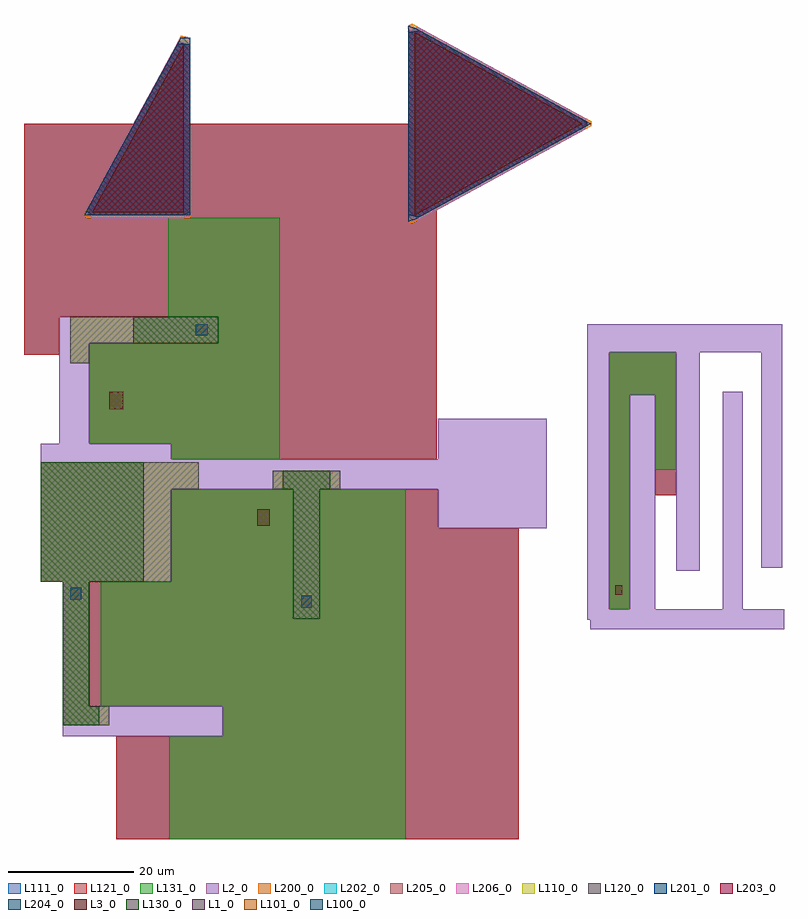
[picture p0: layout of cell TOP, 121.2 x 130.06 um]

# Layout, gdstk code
from math import pi, radians
import gdstk
lib = gdstk.Library(unit=1e-6, precision=1e-09)
def R(c, l, rs):  # rectangles x0, y0, x1, y1
    for r in rs: c.add(gdstk.rectangle(r[:2], r[2:], *l))
def P(c, l, *ps):  # polygons
    for p in ps: c.add(gdstk.Polygon(p, *l))
L1_0 = (1, 0)
L2_0 = (2, 0)
L3_0 = (3, 0)
L100_0 = (100, 0)
L101_0 = (101, 0)
L110_0 = (110, 0)
L111_0 = (111, 0)
L120_0 = (120, 0)
L121_0 = (121, 0)
L130_0 = (130, 0)
L131_0 = (131, 0)
L200_0 = (200, 0)
L201_0 = (201, 0)
L202_0 = (202, 0)
L203_0 = (203, 0)
L204_0 = (204, 0)
L205_0 = (205, 0)
L206_0 = (206, 0)

c_a = lib.new_cell('A')
R(c_a, L1_0, [(-8.4,14.6,-6.7,16.5)])
R(c_a, L2_0, [(-9.6,-7.2,15.9,-2.4), (-9.6,-2.4,-5.4,18.2)])
R(c_a, L101_0, [(-8.4,14.6,-6.7,16.5)])

c_b = lib.new_cell('B')
R(c_b, L1_0, [(0,0,2.2,2.8)])
R(c_b, L101_0, [(0,0,2.2,2.8)])
P(c_b, L111_0, [(9.9,-8),(9.9,-5.5),(-3.2,-5.5),(-3.2,10.5),(17.4,10.5),(17.4,14.7),(-8,14.7),(-8,8.7),(-13.6,8.7),(-13.6,45.5),(52.2,45.5),(52.2,-8)])
P(c_b, L121_0, [(9.9,-8),(9.9,-5.5),(-3.2,-5.5),(-3.2,10.5),(17.4,10.5),(17.4,14.7),(-8,14.7),(-8,8.7),(-13.6,8.7),(-13.6,45.5),(52.2,45.5),(52.2,-8)])
P(c_b, L131_0, [(9.9,-8),(9.9,-5.5),(-3.2,-5.5),(-3.2,10.5),(17.4,10.5),(17.4,14.7),(9.4,14.7),(9.4,30.5),(27.2,30.5),(27.2,-8)])

c_d = lib.new_cell('D')
P(c_d, L3_0, [(0,0),(14.6,26.8),(14.6,0)])

a_1 = lib.new_cell('A$1')

d_1 = lib.new_cell('D$1')

d_var1 = lib.new_cell('D$VAR1')
P(d_var1, L200_0, [(-1,-1),(-1.357,-0.4),(14.2,28.157),(15.6,27.8),(15.6,-1)])
P(d_var1, L201_0, [(-1.309,-0.5),(14.101,27.787),(15.6,27.8),(15.6,-0.5)])
P(d_var1, L202_0, [(0,-1),(-0.878,0.478),(13.722,27.278),(15.6,26.8),(15.6,0),(14.6,-1)])
P(d_var1, L203_0, [(0,-0.5),(-0.965,0.131),(13.635,26.931),(15.6,26.8),(15.6,0),(14.6,-0.5)])
P(d_var1, L204_0, [(0,-0.5),(-0.965,0.131),(13.635,26.931),(15.6,26.8),(15.6,0),(14.6,-0.5)])
P(d_var1, L205_0, [(0,-1),(-0.878,0.478),(13.722,27.278),(15.6,26.8),(15.6,0),(14.6,-1)])
P(d_var1, L206_0, [(0,-1),(-0.878,0.478),(13.722,27.278),(15.6,26.8),(15.6,0),(14.6,-1)])

d_var2 = lib.new_cell('D$VAR2')

a_var1 = lib.new_cell('A$VAR1')

a_var2 = lib.new_cell('A$VAR2')

a_var3 = lib.new_cell('A$VAR3')

top = lib.new_cell('TOP')
R(top, L1_0, [(59.7,-8.4,60.8,-6.9), (2.6,2.6,4.6,5.2)])
R(top, L2_0, [(55.7,-13.9,86.6,-10.7), (55.2,-12.4,58.7,32), (8.3,-12.2,12.5,8.4), (62,-11.4,66.1,23.5), (76.8,-10.7,80,24), (-31.9,-6.3,-11.1,15.7), (69.4,-4.6,73.2,31.7), (83,-4.1,86.3,32), (31.5,2.2,48.8,19.7), (-13,8.4,12.5,13.2), (55.2,30.3,86.3,34.7)])
R(top, L100_0, [(9.6,-10.5,11.3,-8.6), (-27.2,-9.2,-25.5,-7.3), (-7.2,33,-5.3,34.7)])
R(top, L101_0, [(59.7,-8.4,60.8,-6.9), (2.6,2.6,4.6,5.2)])
P(top, L110_0, [(-27.2,28.5),(-27.2,35.9),(-3.6,35.9),(-3.6,31.7),(-24.2,31.7),(-24.2,28.5)],
  [(-28.4,-29.2),(-28.4,-6.3),(-31.9,-6.3),(-31.9,12.7),(-6.7,12.7),(-6.7,8.4),(-11.1,8.4),(-11.1,-6.3),(-24.2,-6.3),(-24.2,-26.2),(-21,-26.2),(-21,-29.2)],
  [(8.3,-12.2),(8.3,8.4),(5.1,8.4),(5.1,11.4),(15.8,11.4),(15.8,8.4),(12.6,8.4),(12.6,-12.2)])
P(top, L111_0, [(58.7,-10.7),(58.7,30.3),(69.4,30.3),(69.4,7.5),(66.1,7.5),(66.1,23.5),(62,23.5),(62,-10.7)],
  [(-19.9,-47.4),(-19.9,-31),(-2.9,-31),(-2.9,-26.2),(-24.2,-26.2),(-24.2,-6.3),(-11.1,-6.3),(-11.1,8.4),(8.3,8.4),(8.3,-12.2),(12.6,-12.2),(12.6,8.4),(31.5,8.4),(31.5,2.2),(44.3,2.2),(44.3,-47.4)])
P(top, L120_0, [(-27.2,28.5),(-27.2,35.9),(-3.6,35.9),(-3.6,31.7),(-24.2,31.7),(-24.2,28.5)],
  [(-28.4,-29.2),(-28.4,-6.3),(-31.9,-6.3),(-31.9,12.7),(-6.7,12.7),(-6.7,8.4),(-11.1,8.4),(-11.1,-6.3),(-24.2,-6.3),(-24.2,-26.2),(-21,-26.2),(-21,-29.2)],
  [(8.3,-12.2),(8.3,8.4),(5.1,8.4),(5.1,11.4),(15.8,11.4),(15.8,8.4),(12.6,8.4),(12.6,-12.2)])
P(top, L121_0, [(58.7,-10.7),(58.7,30.3),(69.4,30.3),(69.4,7.5),(66.1,7.5),(66.1,23.5),(62,23.5),(62,-10.7)],
  [(-19.9,-47.4),(-19.9,-31),(-2.9,-31),(-2.9,-26.2),(-24.2,-26.2),(-24.2,-6.3),(-11.1,-6.3),(-11.1,8.4),(8.3,8.4),(8.3,-12.2),(12.6,-12.2),(12.6,8.4),(31.5,8.4),(31.5,2.2),(44.3,2.2),(44.3,-47.4)])
R(top, L130_0, [(-17.2,31.7,-3.6,35.9)])
P(top, L130_0, [(-28.4,-29.2),(-28.4,-6.3),(-31.9,-6.3),(-31.9,12.7),(-15.5,12.7),(-15.5,-6.3),(-24.2,-6.3),(-24.2,-26.2),(-22.6,-26.2),(-22.6,-29.2)],
  [(8.3,-12.2),(8.3,8.4),(6.7,8.4),(6.7,11.4),(14.2,11.4),(14.2,8.4),(12.6,8.4),(12.6,-12.2)])
P(top, L131_0, [(58.7,-10.7),(58.7,30.3),(69.4,30.3),(69.4,11.5),(66.1,11.5),(66.1,23.5),(62,23.5),(62,-10.7)],
  [(-11.4,-47.4),(-11.4,-31),(-2.9,-31),(-2.9,-26.2),(-22.4,-26.2),(-22.4,-6.3),(-11.1,-6.3),(-11.1,8.4),(8.3,8.4),(8.3,-12.2),(12.6,-12.2),(12.6,8.4),(26.3,8.4),(26.3,-47.4)])
P(top, L200_0, [(27.3,50.743),(26.7,51.1),(26.7,82.3),(27.3,82.657),(55.857,67.1),(55.857,66.3)])
P(top, L201_0, [(26.7,51.1),(26.7,82.3),(27.725,82.026),(55.857,66.7),(27.725,51.374)])
P(top, L202_0, [(28.178,51.222),(26.7,52.1),(26.7,81.3),(28.178,82.178),(54.978,67.578),(54.978,65.822)])
P(top, L203_0, [(28.437,51.762),(26.7,52.1),(26.7,81.3),(28.437,81.638),(55.237,67.038),(55.237,66.362)])
P(top, L204_0, [(28.437,51.762),(26.7,52.1),(26.7,81.3),(28.437,81.638),(55.237,67.038),(55.237,66.362)])
P(top, L205_0, [(28.178,51.222),(26.7,52.1),(26.7,81.3),(28.178,82.178),(54.978,67.578),(54.978,65.822)])
P(top, L206_0, [(28.178,51.222),(26.7,52.1),(26.7,81.3),(28.178,82.178),(54.978,67.578),(54.978,65.822)])
r = gdstk.Reference(c_a, (-18.8,-23.8)); r.repetition = gdstk.Repetition(1, 1, v1=(0,0), v2=(0,0)); top.add(r)
r = gdstk.Reference(c_a, (2.9,6), rotation=pi); r.repetition = gdstk.Repetition(1, 1, v1=(0,0), v2=(0,0)); top.add(r)
r = gdstk.Reference(c_a, (-21.8,26.3), rotation=3*pi/2); r.repetition = gdstk.Repetition(1, 1, v1=(0,0), v2=(0,0)); top.add(r)
r = gdstk.Reference(c_a, (18,6), x_reflection=True); r.repetition = gdstk.Repetition(1, 1, v1=(0,0), v2=(0,0)); top.add(r)
top.add(gdstk.Reference(c_b, (-21,21.2)))
top.add(gdstk.Reference(c_d, (-23.7,52.6)))
r = gdstk.Reference(c_d, (27.7,81.3), rotation=3*pi/2); r.repetition = gdstk.Repetition(1, 1, v1=(0,0), v2=(0,0)); top.add(r)
r = gdstk.Reference(c_d, (27.7,52.1), rotation=pi/2, x_reflection=True); r.repetition = gdstk.Repetition(1, 1, v1=(0,0), v2=(0,0)); top.add(r)
r = gdstk.Reference(a_1, (-21.8,26.3), rotation=3*pi/2); r.repetition = gdstk.Repetition(1, 1, v1=(0,0), v2=(0,0)); top.add(r)
r = gdstk.Reference(d_1, (27.7,81.3), rotation=3*pi/2); r.repetition = gdstk.Repetition(1, 1, v1=(0,0), v2=(0,0)); top.add(r)
top.add(gdstk.Reference(d_var1, (-23.7,52.6)))
r = gdstk.Reference(d_var2, (27.7,52.1), rotation=pi/2, x_reflection=True); r.repetition = gdstk.Repetition(1, 1, v1=(0,0), v2=(0,0)); top.add(r)
r = gdstk.Reference(a_var1, (2.9,6), rotation=pi); r.repetition = gdstk.Repetition(1, 1, v1=(0,0), v2=(0,0)); top.add(r)
r = gdstk.Reference(a_var2, (18,6), x_reflection=True); r.repetition = gdstk.Repetition(1, 1, v1=(0,0), v2=(0,0)); top.add(r)
r = gdstk.Reference(a_var3, (-18.8,-23.8)); r.repetition = gdstk.Repetition(1, 1, v1=(0,0), v2=(0,0)); top.add(r)

lib.write_gds('TOP.gds')
